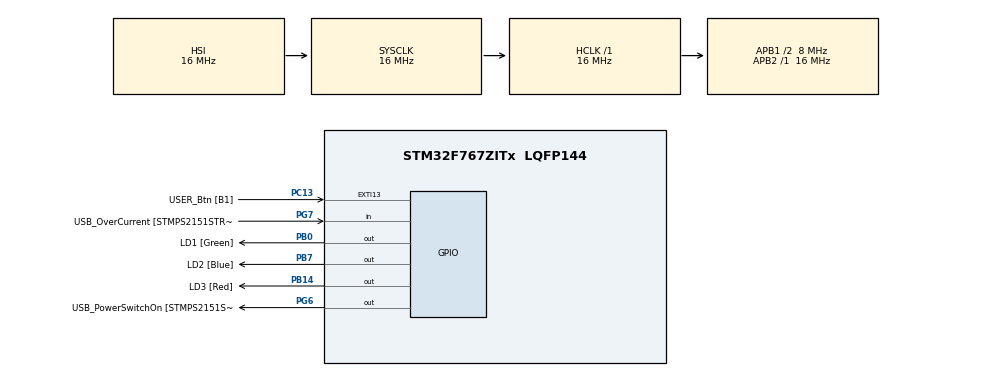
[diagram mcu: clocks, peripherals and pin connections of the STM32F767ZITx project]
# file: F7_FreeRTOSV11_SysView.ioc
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Mcu.Family=STM32F7
Mcu.Name=STM32F767ZITx
Mcu.Package=LQFP144
NVIC.PriorityGroup=NVIC_PRIORITYGROUP_4
NVIC.TIM6_DAC_IRQn=true\:15\:0\:false\:false\:true\:false\:true\:true
NVIC.TimeBase=TIM6_DAC_IRQn
NVIC.TimeBaseIP=TIM6
PA1.GPIO_Label=RMII_REF_CLK [LAN8742A-CZ-TR_REFCLK0]
PA1.Signal=ETH_REF_CLK
PA10.GPIO_Label=USB_ID
PA10.Signal=USB_OTG_FS_ID
PA11.GPIO_Label=USB_DM
PA11.Signal=USB_OTG_FS_DM
PA12.GPIO_Label=USB_DP
PA12.Signal=USB_OTG_FS_DP
PA13.GPIO_Label=TMS
PA13.Signal=SYS_JTMS-SWDIO
PA14.GPIO_Label=TCK
PA14.Signal=SYS_JTCK-SWCLK
PA2.GPIO_Label=RMII_MDIO [LAN8742A-CZ-TR_MDIO]
PA2.Signal=ETH_MDIO
PA7.GPIO_Label=RMII_CRS_DV [LAN8742A-CZ-TR_CRS_DV]
PA7.Signal=ETH_CRS_DV
PA8.GPIO_Label=USB_SOF [TP1]
PA8.Signal=USB_OTG_FS_SOF
PA9.GPIO_Label=USB_VBUS
PA9.Signal=USB_OTG_FS_VBUS
PB0.GPIO_Label=LD1 [Green]
PB0.Signal=GPIO_Output
PB13.GPIO_Label=RMII_TXD1 [LAN8742A-CZ-TR_TXD1]
PB13.Signal=ETH_TXD1
PB14.GPIO_Label=LD3 [Red]
PB14.Signal=GPIO_Output
PB3.GPIO_Label=SW0
PB3.Signal=SYS_JTDO-SWO
PB7.GPIO_Label=LD2 [Blue]
PB7.Signal=GPIO_Output
PC1.GPIO_Label=RMII_MDC [LAN8742A-CZ-TR_MDC]
PC1.Signal=ETH_MDC
PC13.GPIO_Label=USER_Btn [B1]
PC13.Signal=GPXTI13
PC14/OSC32_IN.Signal=RCC_OSC32_IN
PC15/OSC32_OUT.Signal=RCC_OSC32_OUT
PC4.GPIO_Label=RMII_RXD0 [LAN8742A-CZ-TR_RXD0]
PC4.Signal=ETH_RXD0
PC5.GPIO_Label=RMII_RXD1 [LAN8742A-CZ-TR_RXD1]
PC5.Signal=ETH_RXD1
PD8.GPIO_Label=STLK_RX [STM32F103CBT6_PA3]
PD8.Signal=USART3_TX
PD9.GPIO_Label=STLK_TX [STM32F103CBT6_PA2]
PD9.Signal=USART3_RX
PG11.GPIO_Label=RMII_TX_EN [LAN8742A-CZ-TR_TXEN]
PG11.Signal=ETH_TX_EN
PG13.GPIO_Label=RMII_TXD0 [LAN8742A-CZ-TR_TXD0]
PG13.Signal=ETH_TXD0
PG6.GPIO_Label=USB_PowerSwitchOn [STMPS2151STR_EN]
PG6.Signal=GPIO_Output
PG7.GPIO_Label=USB_OverCurrent [STMPS2151STR_FAULT]
PG7.Signal=GPIO_Input
PH0/OSC_IN.GPIO_Label=MCO [STM32F103CBT6_PA8]
PH0/OSC_IN.Signal=RCC_OSC_IN
PH1/OSC_OUT.Signal=RCC_OSC_OUT
ProjectManager.HeapSize=0x200
ProjectManager.StackSize=0x400
ProjectManager.TargetToolchain=STM32CubeIDE
RCC.48MHZClocksFreq_Value=24000000
RCC.AHBFreq_Value=16000000
RCC.APB1CLKDivider=RCC_HCLK_DIV2
RCC.APB1Freq_Value=8000000
RCC.APB1TimFreq_Value=16000000
RCC.APB2Freq_Value=16000000
RCC.APB2TimFreq_Value=16000000
RCC.CortexFreq_Value=16000000
RCC.HCLKFreq_Value=16000000
RCC.HSE_VALUE=16000000
RCC.HSI_VALUE=16000000
RCC.LSE_VALUE=32768
RCC.PLLMUL=RCC_PLL_MUL9
RCC.PRESCALERUSB=RCC_USBCLKSOURCE_PLL_DIV1_5
RCC.SYSCLKFreq_VALUE=16000000
RCC.SYSCLKSourceVirtual=RCC_SYSCLKSOURCE_PLLCLK
RCC.USBFreq_Value=96000000
RCC.VCOOutputFreq_Value=192000000
VP_SYS_VS_tim6.Mode=TIM6
board=NUCLEO-F767ZI

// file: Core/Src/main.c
/* USER CODE BEGIN Header */
/**
  ******************************************************************************
  * @file           : main.c
  * @brief          : Main program body
  ******************************************************************************
  * @attention
  *
  * Copyright (c) 2024 STMicroelectronics.
  * All rights reserved.
  *
  * This software is licensed under terms that can be found in the LICENSE file
  * in the root directory of this software component.
  * If no LICENSE file comes with this software, it is provided AS-IS.
  *
  ******************************************************************************
  */
/* USER CODE END Header */
#include "main.h"

/* USER CODE BEGIN Includes */
#include <stdio.h>
#include "FreeRTOS.h"
#include "task.h"
/* USER CODE END Includes */

void SystemClock_Config(void);
static void MX_GPIO_Init(void);
/* USER CODE BEGIN PFP */
static void task1_handler(void *parameters);
static void task2_handler(void *parameters);
/* USER CODE END PFP */

int main(void)
{
	  /* USER CODE BEGIN 1 */
		TaskHandle_t task1_handle;
		TaskHandle_t task2_handle;
		BaseType_t status;
	  /* USER CODE END 1 */

  /* MCU Configuration--------------------------------------------------------*/

  /* Reset of all peripherals, Initializes the Flash interface and the Systick. */
  HAL_Init();

  /* Configure the system clock */
  SystemClock_Config();

  /* Initialize all configured peripherals */
  MX_GPIO_Init();
  /* USER CODE BEGIN 2 */
  SEGGER_SYSVIEW_Conf();
  SEGGER_SYSVIEW_Start();
  status = xTaskCreate(task1_handler,"Task-1",200,"Hey, I am Task-1",2,&task1_handle);

  configASSERT(status==pdPASS);

  status = xTaskCreate(task2_handler,"Task-2",200,"Hey, I am Task-2",2,&task2_handle);

  configASSERT(status==pdPASS);

  vTaskStartScheduler();
  /* USER CODE END 2 */

  /* Infinite loop */
  while (1)
  {

  }
}

void SystemClock_Config(void)
{
  RCC_OscInitTypeDef RCC_OscInitStruct = {0};
  RCC_ClkInitTypeDef RCC_ClkInitStruct = {0};

  /** Configure the main internal regulator output voltage
  */
  __HAL_RCC_PWR_CLK_ENABLE();
  __HAL_PWR_VOLTAGESCALING_CONFIG(PWR_REGULATOR_VOLTAGE_SCALE3);

  /** Initializes the RCC Oscillators according to the specified parameters
  * in the RCC_OscInitTypeDef structure.
  */
  RCC_OscInitStruct.OscillatorType = RCC_OSCILLATORTYPE_HSI;
  RCC_OscInitStruct.HSIState = RCC_HSI_ON;
  RCC_OscInitStruct.HSICalibrationValue = RCC_HSICALIBRATION_DEFAULT;
  RCC_OscInitStruct.PLL.PLLState = RCC_PLL_NONE;
  if (HAL_RCC_OscConfig(&RCC_OscInitStruct) != HAL_OK)
  {
    Error_Handler();
  }

  /** Initializes the CPU, AHB and APB buses clocks
  */
  RCC_ClkInitStruct.ClockType = RCC_CLOCKTYPE_HCLK|RCC_CLOCKTYPE_SYSCLK
                              |RCC_CLOCKTYPE_PCLK1|RCC_CLOCKTYPE_PCLK2;
  RCC_ClkInitStruct.SYSCLKSource = RCC_SYSCLKSOURCE_HSI;
  RCC_ClkInitStruct.AHBCLKDivider = RCC_SYSCLK_DIV1;
  RCC_ClkInitStruct.APB1CLKDivider = RCC_HCLK_DIV2;
  RCC_ClkInitStruct.APB2CLKDivider = RCC_HCLK_DIV1;

  if (HAL_RCC_ClockConfig(&RCC_ClkInitStruct, FLASH_LATENCY_0) != HAL_OK)
  {
    Error_Handler();
  }
}

static void MX_GPIO_Init(void)
{
  GPIO_InitTypeDef GPIO_InitStruct = {0};

  /* GPIO Ports Clock Enable */
  __HAL_RCC_GPIOC_CLK_ENABLE();
  __HAL_RCC_GPIOH_CLK_ENABLE();
  __HAL_RCC_GPIOA_CLK_ENABLE();
  __HAL_RCC_GPIOB_CLK_ENABLE();
  __HAL_RCC_GPIOD_CLK_ENABLE();
  __HAL_RCC_GPIOG_CLK_ENABLE();

  /*Configure GPIO pin Output Level */
  HAL_GPIO_WritePin(GPIOB, LD1_Pin|LD3_Pin|LD2_Pin, GPIO_PIN_RESET);

  /*Configure GPIO pin Output Level */
  HAL_GPIO_WritePin(USB_PowerSwitchOn_GPIO_Port, USB_PowerSwitchOn_Pin, GPIO_PIN_RESET);

  /*Configure GPIO pin : USER_Btn_Pin */
  GPIO_InitStruct.Pin = USER_Btn_Pin;
  GPIO_InitStruct.Mode = GPIO_MODE_IT_RISING;
  GPIO_InitStruct.Pull = GPIO_NOPULL;
  HAL_GPIO_Init(USER_Btn_GPIO_Port, &GPIO_InitStruct);

  /*Configure GPIO pins : RMII_MDC_Pin RMII_RXD0_Pin RMII_RXD1_Pin */
  GPIO_InitStruct.Pin = RMII_MDC_Pin|RMII_RXD0_Pin|RMII_RXD1_Pin;
  GPIO_InitStruct.Mode = GPIO_MODE_AF_PP;
  GPIO_InitStruct.Pull = GPIO_NOPULL;
  GPIO_InitStruct.Speed = GPIO_SPEED_FREQ_VERY_HIGH;
  GPIO_InitStruct.Alternate = GPIO_AF11_ETH;
  HAL_GPIO_Init(GPIOC, &GPIO_InitStruct);

  /*Configure GPIO pins : RMII_REF_CLK_Pin RMII_MDIO_Pin RMII_CRS_DV_Pin */
  GPIO_InitStruct.Pin = RMII_REF_CLK_Pin|RMII_MDIO_Pin|RMII_CRS_DV_Pin;
  GPIO_InitStruct.Mode = GPIO_MODE_AF_PP;
  GPIO_InitStruct.Pull = GPIO_NOPULL;
  GPIO_InitStruct.Speed = GPIO_SPEED_FREQ_VERY_HIGH;
  GPIO_InitStruct.Alternate = GPIO_AF11_ETH;
  HAL_GPIO_Init(GPIOA, &GPIO_InitStruct);

  /*Configure GPIO pins : LD1_Pin LD3_Pin LD2_Pin */
  GPIO_InitStruct.Pin = LD1_Pin|LD3_Pin|LD2_Pin;
  GPIO_InitStruct.Mode = GPIO_MODE_OUTPUT_PP;
  GPIO_InitStruct.Pull = GPIO_NOPULL;
  GPIO_InitStruct.Speed = GPIO_SPEED_FREQ_LOW;
  HAL_GPIO_Init(GPIOB, &GPIO_InitStruct);

  /*Configure GPIO pin : RMII_TXD1_Pin */
  GPIO_InitStruct.Pin = RMII_TXD1_Pin;
  GPIO_InitStruct.Mode = GPIO_MODE_AF_PP;
  GPIO_InitStruct.Pull = GPIO_NOPULL;
  GPIO_InitStruct.Speed = GPIO_SPEED_FREQ_VERY_HIGH;
  GPIO_InitStruct.Alternate = GPIO_AF11_ETH;
  HAL_GPIO_Init(RMII_TXD1_GPIO_Port, &GPIO_InitStruct);

  /*Configure GPIO pins : STLK_RX_Pin STLK_TX_Pin */
  GPIO_InitStruct.Pin = STLK_RX_Pin|STLK_TX_Pin;
  GPIO_InitStruct.Mode = GPIO_MODE_AF_PP;
  GPIO_InitStruct.Pull = GPIO_NOPULL;
  GPIO_InitStruct.Speed = GPIO_SPEED_FREQ_VERY_HIGH;
  GPIO_InitStruct.Alternate = GPIO_AF7_USART3;
  HAL_GPIO_Init(GPIOD, &GPIO_InitStruct);

  /*Configure GPIO pin : USB_PowerSwitchOn_Pin */
  GPIO_InitStruct.Pin = USB_PowerSwitchOn_Pin;
  GPIO_InitStruct.Mode = GPIO_MODE_OUTPUT_PP;
  GPIO_InitStruct.Pull = GPIO_NOPULL;
  GPIO_InitStruct.Speed = GPIO_SPEED_FREQ_LOW;
  HAL_GPIO_Init(USB_PowerSwitchOn_GPIO_Port, &GPIO_InitStruct);

  /*Configure GPIO pin : USB_OverCurrent_Pin */
  GPIO_InitStruct.Pin = USB_OverCurrent_Pin;
  GPIO_InitStruct.Mode = GPIO_MODE_INPUT;
  GPIO_InitStruct.Pull = GPIO_NOPULL;
  HAL_GPIO_Init(USB_OverCurrent_GPIO_Port, &GPIO_InitStruct);

  /*Configure GPIO pins : USB_SOF_Pin USB_ID_Pin USB_DM_Pin USB_DP_Pin */
  GPIO_InitStruct.Pin = USB_SOF_Pin|USB_ID_Pin|USB_DM_Pin|USB_DP_Pin;
  GPIO_InitStruct.Mode = GPIO_MODE_AF_PP;
  GPIO_InitStruct.Pull = GPIO_NOPULL;
  GPIO_InitStruct.Speed = GPIO_SPEED_FREQ_VERY_HIGH;
  GPIO_InitStruct.Alternate = GPIO_AF10_OTG_FS;
  HAL_GPIO_Init(GPIOA, &GPIO_InitStruct);

  /*Configure GPIO pin : USB_VBUS_Pin */
  GPIO_InitStruct.Pin = USB_VBUS_Pin;
  GPIO_InitStruct.Mode = GPIO_MODE_INPUT;
  GPIO_InitStruct.Pull = GPIO_NOPULL;
  HAL_GPIO_Init(USB_VBUS_GPIO_Port, &GPIO_InitStruct);

  /*Configure GPIO pins : RMII_TX_EN_Pin RMII_TXD0_Pin */
  GPIO_InitStruct.Pin = RMII_TX_EN_Pin|RMII_TXD0_Pin;
  GPIO_InitStruct.Mode = GPIO_MODE_AF_PP;
  GPIO_InitStruct.Pull = GPIO_NOPULL;
  GPIO_InitStruct.Speed = GPIO_SPEED_FREQ_VERY_HIGH;
  GPIO_InitStruct.Alternate = GPIO_AF11_ETH;
  HAL_GPIO_Init(GPIOG, &GPIO_InitStruct);

}

/* USER CODE BEGIN 4 */
static void task1_handler(void *parameters){
	while(1){
		printf("%s\n",(char*)parameters);
	}

}

static void task2_handler(void *parameters){
	while(1){
		printf("%s\n",(char*)parameters);
	}
}
/* USER CODE END 4 */

void HAL_TIM_PeriodElapsedCallback(TIM_HandleTypeDef *htim)
{
  if (htim->Instance == TIM6) {
    HAL_IncTick();
  }
}

void Error_Handler(void)
{
  __disable_irq();
  while (1)
  {
  }
}
